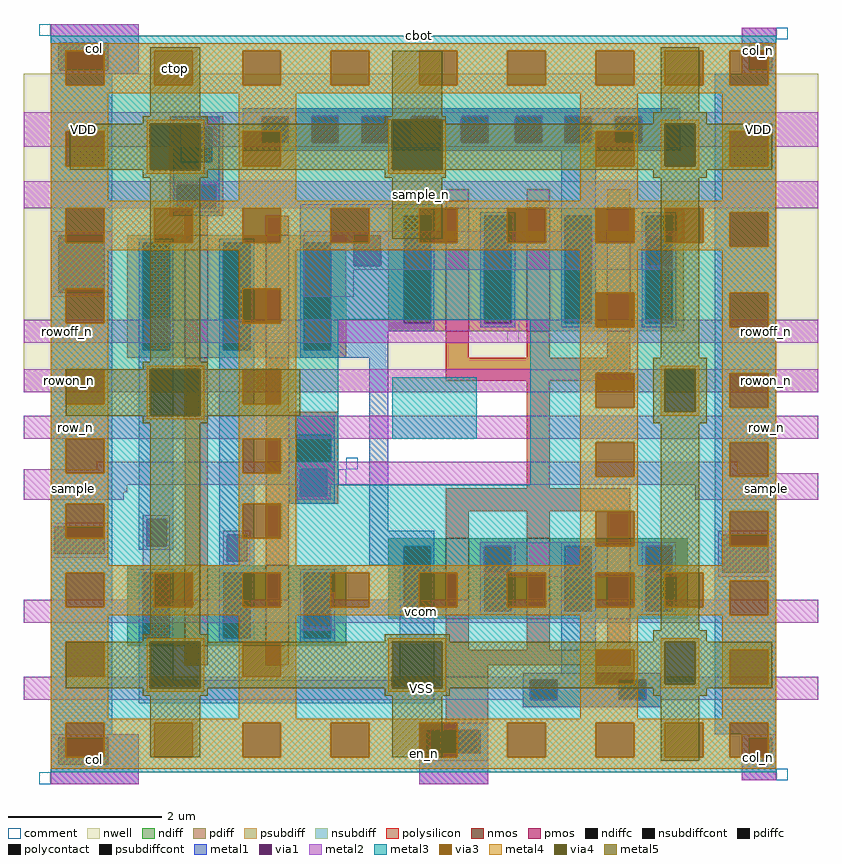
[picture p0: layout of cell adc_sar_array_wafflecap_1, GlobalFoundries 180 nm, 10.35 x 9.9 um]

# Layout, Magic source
magic
tech gf180mcuD
magscale 1 5
<< nwell >>
rect 1250 510 2285 925
<< nmos >>
rect 1460 180 1490 285
rect 1565 180 1595 285
rect 1800 215 1830 320
rect 1905 215 1935 320
rect 2010 215 2040 320
<< pmos >>
rect 1460 555 1490 715
rect 1565 555 1595 715
rect 1800 590 1830 750
rect 1905 590 1935 750
rect 2010 590 2040 750
<< ndiff >>
rect 1725 310 1800 320
rect 1385 275 1460 285
rect 1385 190 1405 275
rect 1440 190 1460 275
rect 1385 180 1460 190
rect 1490 275 1565 285
rect 1490 190 1510 275
rect 1545 190 1565 275
rect 1490 180 1565 190
rect 1595 275 1670 285
rect 1595 190 1615 275
rect 1650 190 1670 275
rect 1725 225 1745 310
rect 1780 225 1800 310
rect 1725 215 1800 225
rect 1830 310 1905 320
rect 1830 225 1850 310
rect 1885 225 1905 310
rect 1830 215 1905 225
rect 1935 310 2010 320
rect 1935 225 1955 310
rect 1990 225 2010 310
rect 1935 215 2010 225
rect 2040 310 2115 320
rect 2040 225 2060 310
rect 2095 225 2115 310
rect 2040 215 2115 225
rect 1595 180 1670 190
<< pdiff >>
rect 1725 740 1800 750
rect 1385 705 1460 715
rect 1385 565 1405 705
rect 1440 565 1460 705
rect 1385 555 1460 565
rect 1490 705 1565 715
rect 1490 565 1510 705
rect 1545 565 1565 705
rect 1490 555 1565 565
rect 1595 705 1670 715
rect 1595 565 1615 705
rect 1650 565 1670 705
rect 1725 600 1745 740
rect 1780 600 1800 740
rect 1725 590 1800 600
rect 1830 740 1905 750
rect 1830 600 1850 740
rect 1885 600 1905 740
rect 1830 590 1905 600
rect 1935 740 2010 750
rect 1935 600 1955 740
rect 1990 600 2010 740
rect 1935 590 2010 600
rect 2040 740 2110 750
rect 2040 600 2060 740
rect 2095 600 2110 740
rect 2040 590 2110 600
rect 1595 555 1670 565
<< ndiffc >>
rect 1405 190 1440 275
rect 1510 190 1545 275
rect 1615 190 1650 275
rect 1745 225 1780 310
rect 1850 225 1885 310
rect 1955 225 1990 310
rect 2060 225 2095 310
<< pdiffc >>
rect 1405 565 1440 705
rect 1510 565 1545 705
rect 1615 565 1650 705
rect 1745 600 1780 740
rect 1850 600 1885 740
rect 1955 600 1990 740
rect 2060 600 2095 740
<< psubdiff >>
rect 1900 135 2080 145
rect 1900 110 1910 135
rect 1945 110 2025 135
rect 2060 110 2080 135
rect 1900 100 2080 110
<< nsubdiff >>
rect 1535 870 2105 880
rect 1535 835 1560 870
rect 1595 835 1625 870
rect 1660 835 1690 870
rect 1725 835 1755 870
rect 1790 835 1820 870
rect 1855 835 1890 870
rect 1925 835 1955 870
rect 1990 835 2020 870
rect 2055 835 2105 870
rect 1535 825 2105 835
<< psubdiffcont >>
rect 1910 110 1945 135
rect 2025 110 2060 135
<< nsubdiffcont >>
rect 1560 835 1595 870
rect 1625 835 1660 870
rect 1690 835 1725 870
rect 1755 835 1790 870
rect 1820 835 1855 870
rect 1890 835 1925 870
rect 1955 835 1990 870
rect 2020 835 2055 870
<< polysilicon >>
rect 1440 855 1510 870
rect 1440 810 1455 855
rect 1495 810 1510 855
rect 1440 740 1510 810
rect 1800 750 1830 775
rect 1905 750 1935 775
rect 2010 750 2040 775
rect 1460 715 1490 740
rect 1565 715 1595 740
rect 1800 555 1830 590
rect 1905 555 1935 590
rect 2010 555 2040 590
rect 1460 285 1490 555
rect 1565 485 1595 555
rect 1800 525 2040 555
rect 1565 455 1660 485
rect 1565 420 1605 455
rect 1650 420 1660 455
rect 1565 365 1660 420
rect 1905 385 1935 525
rect 1565 285 1595 365
rect 1800 355 2040 385
rect 1800 320 1830 355
rect 1905 320 1935 355
rect 2010 320 2040 355
rect 1460 155 1490 180
rect 1565 155 1595 180
rect 1800 175 1830 215
rect 1905 175 1935 215
rect 2010 175 2040 215
rect 1800 155 2040 175
rect 1800 80 1855 155
rect 1765 70 1855 80
rect 1765 40 1775 70
rect 1845 40 1855 70
rect 1765 30 1855 40
<< polycontact >>
rect 1455 810 1495 855
rect 1605 420 1650 455
rect 1775 40 1845 70
<< metal1 >>
rect 1285 965 1400 990
rect 1285 930 1295 965
rect 1360 930 1400 965
rect 1285 925 1400 930
rect 2185 965 2230 985
rect 2185 930 2195 965
rect 2225 930 2230 965
rect 2185 925 2230 930
rect 1285 715 1365 925
rect 1535 870 2105 880
rect 1445 855 1505 870
rect 1445 810 1455 855
rect 1495 810 1505 855
rect 1535 835 1560 870
rect 1595 835 1625 870
rect 1660 835 1690 870
rect 1725 835 1755 870
rect 1790 835 1820 870
rect 1855 835 1890 870
rect 1925 835 1955 870
rect 1990 835 2020 870
rect 2055 835 2105 870
rect 1535 825 2105 835
rect 1445 780 1505 810
rect 1445 750 1450 780
rect 1500 750 1505 780
rect 1445 740 1505 750
rect 1610 740 1785 755
rect 1285 640 1295 715
rect 1355 640 1365 715
rect 1610 715 1745 740
rect 1285 335 1365 640
rect 1285 300 1290 335
rect 1355 300 1365 335
rect 1400 705 1445 710
rect 1400 565 1405 705
rect 1440 565 1445 705
rect 1400 345 1445 565
rect 1400 310 1410 345
rect 1436 310 1445 345
rect 1400 305 1445 310
rect 1505 705 1550 710
rect 1505 565 1510 705
rect 1545 565 1550 705
rect 1505 325 1550 565
rect 1610 705 1680 715
rect 1610 565 1615 705
rect 1650 675 1680 705
rect 1715 675 1745 715
rect 1650 600 1745 675
rect 1780 600 1785 740
rect 1650 590 1785 600
rect 1845 740 1890 745
rect 1845 600 1850 740
rect 1885 600 1890 740
rect 1845 595 1890 600
rect 1950 740 1995 825
rect 1950 600 1955 740
rect 1990 600 1995 740
rect 1950 595 1995 600
rect 2055 740 2100 745
rect 2055 600 2060 740
rect 2095 600 2100 740
rect 2055 595 2100 600
rect 1650 565 1725 590
rect 1610 555 1725 565
rect 1595 455 1655 480
rect 1595 420 1605 455
rect 1650 420 1655 455
rect 1595 410 1655 420
rect 1595 375 1610 410
rect 1645 375 1655 410
rect 1595 365 1655 375
rect 1285 65 1365 300
rect 1505 290 1515 325
rect 1541 290 1550 325
rect 1400 275 1445 280
rect 1400 190 1405 275
rect 1440 190 1445 275
rect 1400 135 1445 190
rect 1505 275 1550 290
rect 1700 330 1725 555
rect 1700 310 1785 330
rect 2150 325 2230 925
rect 1700 285 1745 310
rect 1505 190 1510 275
rect 1545 190 1550 275
rect 1505 185 1550 190
rect 1610 275 1655 280
rect 1610 190 1615 275
rect 1650 190 1655 275
rect 1610 185 1655 190
rect 1740 225 1745 285
rect 1780 225 1785 310
rect 1740 135 1785 225
rect 1845 310 1890 315
rect 1845 225 1850 310
rect 1885 225 1890 310
rect 1845 220 1890 225
rect 1950 310 1995 315
rect 1950 225 1955 310
rect 1990 225 1995 310
rect 1950 145 1995 225
rect 2055 310 2100 315
rect 2055 225 2060 310
rect 2095 225 2100 310
rect 2055 220 2100 225
rect 2150 275 2160 325
rect 2220 275 2230 325
rect 1400 105 1785 135
rect 1900 136 2080 145
rect 1900 110 1910 136
rect 1945 110 2025 136
rect 2060 110 2080 136
rect 1900 100 2080 110
rect 1765 70 1855 80
rect 1285 60 1400 65
rect 1285 25 1295 60
rect 1360 25 1400 60
rect 1285 0 1400 25
rect 1765 40 1775 70
rect 1845 40 1855 70
rect 2150 65 2230 275
rect 1765 0 1855 40
rect 2185 60 2230 65
rect 2185 30 2195 60
rect 2225 30 2230 60
rect 2185 5 2230 30
<< via1 >>
rect 1295 930 1360 965
rect 2195 930 2225 965
rect 1560 835 1595 870
rect 1625 835 1660 870
rect 1690 835 1725 870
rect 1755 835 1790 870
rect 1820 835 1855 870
rect 1890 835 1925 870
rect 1955 835 1990 870
rect 2020 835 2055 870
rect 1450 750 1500 780
rect 1295 640 1355 715
rect 1290 300 1355 335
rect 1410 310 1436 345
rect 1680 675 1715 715
rect 2060 675 2095 715
rect 1610 375 1645 410
rect 1515 290 1541 325
rect 1615 205 1650 245
rect 1850 275 1885 310
rect 2060 275 2095 310
rect 2160 275 2220 325
rect 1910 135 1945 136
rect 1910 110 1945 135
rect 2025 135 2060 136
rect 2025 110 2060 135
rect 1295 25 1360 60
rect 1780 40 1840 70
rect 2195 30 2225 60
<< metal2 >>
rect 1285 965 1400 990
rect 1285 930 1295 965
rect 1360 930 1400 965
rect 1285 925 1400 930
rect 2185 965 2230 985
rect 2185 930 2195 965
rect 2225 930 2230 965
rect 2185 925 2230 930
rect 1250 870 2285 875
rect 1250 835 1560 870
rect 1595 835 1625 870
rect 1660 835 1690 870
rect 1725 835 1755 870
rect 1790 835 1820 870
rect 1855 835 1890 870
rect 1925 835 1955 870
rect 1990 835 2020 870
rect 2055 835 2285 870
rect 1250 830 2285 835
rect 1250 780 2285 785
rect 1250 750 1450 780
rect 1500 750 2285 780
rect 1445 745 1505 750
rect 1285 715 1365 720
rect 1285 640 1295 715
rect 1355 640 1365 715
rect 1285 635 1365 640
rect 1615 715 2100 720
rect 1615 675 1680 715
rect 1715 675 2060 715
rect 2095 675 2100 715
rect 1615 670 2100 675
rect 1615 635 1680 670
rect 1250 575 2285 605
rect 1250 510 2285 540
rect 1250 450 2285 480
rect 1365 410 2150 420
rect 1365 400 1610 410
rect 1250 390 1610 400
rect 1250 370 1380 390
rect 1605 375 1610 390
rect 1645 400 2150 410
rect 1645 390 2285 400
rect 1645 375 1650 390
rect 1605 370 1650 375
rect 2125 370 2285 390
rect 1405 345 1440 350
rect 1285 335 1360 340
rect 1285 300 1290 335
rect 1355 300 1360 335
rect 1285 295 1360 300
rect 1405 310 1410 345
rect 1436 310 1440 345
rect 1405 240 1440 310
rect 1510 325 1545 330
rect 1510 290 1515 325
rect 1541 290 1545 325
rect 2155 325 2225 330
rect 1510 285 1545 290
rect 1845 310 2100 315
rect 1845 275 1850 310
rect 1885 275 2060 310
rect 2095 275 2100 310
rect 1845 270 2100 275
rect 2155 275 2160 325
rect 2220 275 2225 325
rect 2155 270 2225 275
rect 1610 245 1655 250
rect 1610 240 1615 245
rect 1250 210 1615 240
rect 1610 205 1615 210
rect 1650 240 1655 245
rect 1650 210 2285 240
rect 1650 205 1655 210
rect 1610 200 1655 205
rect 1900 140 2080 145
rect 1250 136 2285 140
rect 1250 110 1910 136
rect 1945 110 2025 136
rect 2060 110 2285 136
rect 1900 100 2080 110
rect 1765 70 1855 80
rect 1285 60 1400 65
rect 1285 25 1295 60
rect 1360 25 1400 60
rect 1285 0 1400 25
rect 1765 40 1780 70
rect 1840 40 1855 70
rect 1765 0 1855 40
rect 2185 60 2230 65
rect 2185 30 2195 60
rect 2225 30 2230 60
rect 2185 5 2230 30
<< metal3 >>
rect 1285 955 2230 975
rect 1285 910 1305 955
rect 1355 910 1420 955
rect 1470 910 1535 955
rect 1585 910 1650 955
rect 1700 910 1765 955
rect 1815 910 1880 955
rect 1930 910 1995 955
rect 2045 910 2085 955
rect 2135 910 2170 955
rect 2220 910 2230 955
rect 1285 850 2230 910
rect 1285 805 1305 850
rect 1355 805 1535 850
rect 1585 805 1995 850
rect 2045 805 2170 850
rect 2220 805 2230 850
rect 1285 750 2230 805
rect 1285 705 1305 750
rect 1355 705 1420 750
rect 1470 705 1535 750
rect 1585 705 1650 750
rect 1700 705 1765 750
rect 1815 705 1880 750
rect 1930 705 1995 750
rect 2045 705 2085 750
rect 2135 745 2230 750
rect 2135 705 2170 745
rect 1285 700 2170 705
rect 2220 700 2230 745
rect 1285 645 2230 700
rect 1285 600 1305 645
rect 1355 600 1535 645
rect 1585 640 2230 645
rect 1585 605 1995 640
rect 1585 600 1660 605
rect 1285 540 1660 600
rect 1285 495 1305 540
rect 1355 495 1535 540
rect 1585 495 1660 540
rect 1910 595 1995 605
rect 2045 595 2170 640
rect 2220 595 2230 640
rect 1910 535 2230 595
rect 1285 450 1660 495
rect 1730 450 1840 530
rect 1910 490 1995 535
rect 2045 490 2170 535
rect 2220 490 2230 535
rect 1285 405 1305 450
rect 1355 405 1535 450
rect 1585 405 1660 450
rect 1285 390 1660 405
rect 1910 445 2230 490
rect 1910 400 1995 445
rect 2045 400 2170 445
rect 2220 400 2230 445
rect 1910 390 2230 400
rect 1285 365 2230 390
rect 1285 320 1305 365
rect 1355 320 1535 365
rect 1585 355 2230 365
rect 1585 320 1995 355
rect 1285 310 1995 320
rect 2045 310 2170 355
rect 2220 310 2230 355
rect 1285 275 2230 310
rect 1285 230 1305 275
rect 1355 230 1420 275
rect 1470 230 1535 275
rect 1585 230 1650 275
rect 1700 230 1765 275
rect 1815 230 1880 275
rect 1930 230 1995 275
rect 2045 230 2085 275
rect 2135 265 2230 275
rect 2135 230 2170 265
rect 1285 220 2170 230
rect 2220 220 2230 265
rect 1285 185 2230 220
rect 1285 140 1305 185
rect 1355 140 1535 185
rect 1585 175 2230 185
rect 1585 140 1995 175
rect 1285 130 1995 140
rect 2045 130 2170 175
rect 2220 130 2230 175
rect 1285 80 2230 130
rect 1285 35 1305 80
rect 1355 35 1420 80
rect 1470 35 1535 80
rect 1585 35 1650 80
rect 1700 35 1765 80
rect 1815 35 1880 80
rect 1930 35 1995 80
rect 2045 35 2085 80
rect 2135 35 2170 80
rect 2220 35 2230 80
rect 1285 15 2230 35
<< via3 >>
rect 1305 910 1355 955
rect 1420 910 1470 955
rect 1535 910 1585 955
rect 1650 910 1700 955
rect 1765 910 1815 955
rect 1880 910 1930 955
rect 1995 910 2045 955
rect 2085 910 2135 955
rect 2170 910 2220 955
rect 1305 805 1355 850
rect 1535 805 1585 850
rect 1995 805 2045 850
rect 2170 805 2220 850
rect 1305 705 1355 750
rect 1420 705 1470 750
rect 1535 705 1585 750
rect 1650 705 1700 750
rect 1765 705 1815 750
rect 1880 705 1930 750
rect 1995 705 2045 750
rect 2085 705 2135 750
rect 2170 700 2220 745
rect 1305 600 1355 645
rect 1535 600 1585 645
rect 1305 495 1355 540
rect 1535 495 1585 540
rect 1995 595 2045 640
rect 2170 595 2220 640
rect 1995 490 2045 535
rect 2170 490 2220 535
rect 1305 405 1355 450
rect 1535 405 1585 450
rect 1995 400 2045 445
rect 2170 400 2220 445
rect 1305 320 1355 365
rect 1535 320 1585 365
rect 1995 310 2045 355
rect 2170 310 2220 355
rect 1305 230 1355 275
rect 1420 230 1470 275
rect 1535 230 1585 275
rect 1650 230 1700 275
rect 1765 230 1815 275
rect 1880 230 1930 275
rect 1995 230 2045 275
rect 2085 230 2135 275
rect 2170 220 2220 265
rect 1305 140 1355 185
rect 1535 140 1585 185
rect 1995 130 2045 175
rect 2170 130 2220 175
rect 1305 35 1355 80
rect 1420 35 1470 80
rect 1535 35 1585 80
rect 1650 35 1700 80
rect 1765 35 1815 80
rect 1880 35 1930 80
rect 1995 35 2045 80
rect 2085 35 2135 80
rect 2170 35 2220 80
<< metal4 >>
rect 1285 955 2230 965
rect 1285 910 1305 955
rect 1355 910 1420 955
rect 1470 910 1535 955
rect 1585 910 1650 955
rect 1700 910 1765 955
rect 1815 910 1880 955
rect 1930 910 1995 955
rect 2045 910 2085 955
rect 2135 910 2170 955
rect 2220 910 2230 955
rect 1285 900 2230 910
rect 1285 850 1360 900
rect 1285 805 1305 850
rect 1355 805 1360 850
rect 1285 760 1360 805
rect 1410 860 1485 865
rect 1410 800 1415 860
rect 1480 800 1485 860
rect 1410 795 1485 800
rect 1530 850 1605 900
rect 1530 805 1535 850
rect 1585 805 1605 850
rect 1530 760 1605 805
rect 1725 800 1730 865
rect 1795 800 1800 865
rect 1725 795 1800 800
rect 1975 850 2050 900
rect 1975 805 1995 850
rect 2045 805 2050 850
rect 1975 760 2050 805
rect 2080 860 2130 865
rect 2080 805 2085 860
rect 2125 805 2130 860
rect 2080 800 2130 805
rect 2160 850 2230 900
rect 2160 805 2170 850
rect 2220 805 2230 850
rect 2160 760 2230 805
rect 1285 750 2230 760
rect 1285 705 1305 750
rect 1355 705 1420 750
rect 1470 705 1535 750
rect 1585 705 1650 750
rect 1700 705 1765 750
rect 1815 705 1880 750
rect 1930 705 1995 750
rect 2045 705 2085 750
rect 2135 745 2230 750
rect 2135 705 2170 745
rect 1285 700 2170 705
rect 2220 700 2230 745
rect 1285 695 2230 700
rect 1285 645 1360 695
rect 1285 600 1305 645
rect 1355 600 1360 645
rect 1285 540 1360 600
rect 1530 645 1605 695
rect 1530 600 1535 645
rect 1585 600 1605 645
rect 1285 495 1305 540
rect 1355 495 1360 540
rect 1285 450 1360 495
rect 1410 540 1485 545
rect 1410 480 1415 540
rect 1480 480 1485 540
rect 1410 475 1485 480
rect 1530 540 1605 600
rect 1530 495 1535 540
rect 1585 495 1605 540
rect 1285 405 1305 450
rect 1355 405 1360 450
rect 1285 365 1360 405
rect 1285 320 1305 365
rect 1355 320 1360 365
rect 1285 285 1360 320
rect 1530 450 1605 495
rect 1530 405 1535 450
rect 1585 405 1605 450
rect 1530 365 1605 405
rect 1530 320 1535 365
rect 1585 320 1605 365
rect 1530 285 1605 320
rect 1975 640 2050 695
rect 1975 595 1995 640
rect 2045 595 2050 640
rect 1975 535 2050 595
rect 2160 640 2230 695
rect 2160 595 2170 640
rect 2220 595 2230 640
rect 1975 490 1995 535
rect 2045 490 2050 535
rect 1975 445 2050 490
rect 2080 540 2130 545
rect 2080 485 2085 540
rect 2125 485 2130 540
rect 2080 480 2130 485
rect 2160 535 2230 595
rect 2160 490 2170 535
rect 2220 490 2230 535
rect 1975 400 1995 445
rect 2045 400 2050 445
rect 1975 355 2050 400
rect 1975 310 1995 355
rect 2045 310 2050 355
rect 1975 285 2050 310
rect 2160 445 2230 490
rect 2160 400 2170 445
rect 2220 400 2230 445
rect 2160 355 2230 400
rect 2160 310 2170 355
rect 2220 310 2230 355
rect 2160 285 2230 310
rect 1285 275 2230 285
rect 1285 230 1305 275
rect 1355 230 1420 275
rect 1470 230 1535 275
rect 1585 230 1650 275
rect 1700 230 1765 275
rect 1815 230 1880 275
rect 1930 230 1995 275
rect 2045 230 2085 275
rect 2135 265 2230 275
rect 2135 230 2170 265
rect 1285 220 2170 230
rect 2220 220 2230 265
rect 1285 185 1360 220
rect 1285 140 1305 185
rect 1355 140 1360 185
rect 1285 85 1360 140
rect 1410 185 1485 190
rect 1410 125 1415 185
rect 1480 125 1485 185
rect 1410 120 1485 125
rect 1530 185 1605 220
rect 1530 140 1535 185
rect 1585 140 1605 185
rect 1530 85 1605 140
rect 1725 185 1800 190
rect 1725 125 1730 185
rect 1795 125 1800 185
rect 1725 120 1800 125
rect 1975 175 2050 220
rect 1975 130 1995 175
rect 2045 130 2050 175
rect 1975 85 2050 130
rect 2080 185 2130 190
rect 2080 130 2085 185
rect 2125 130 2130 185
rect 2080 125 2130 130
rect 2160 175 2230 220
rect 2160 130 2170 175
rect 2220 130 2230 175
rect 2160 85 2230 130
rect 1285 80 2230 85
rect 1285 35 1305 80
rect 1355 35 1420 80
rect 1470 35 1535 80
rect 1585 35 1650 80
rect 1700 35 1765 80
rect 1815 35 1880 80
rect 1930 35 1995 80
rect 2045 35 2085 80
rect 2135 35 2170 80
rect 2220 35 2230 80
rect 1285 20 2230 35
<< via4 >>
rect 1415 800 1480 860
rect 1730 800 1795 865
rect 2085 805 2125 860
rect 1415 480 1480 540
rect 2085 485 2125 540
rect 1415 125 1480 185
rect 1730 125 1795 185
rect 2085 130 2125 185
<< metal5 >>
rect 1415 870 1480 960
rect 1730 870 1795 955
rect 2080 875 2130 960
rect 1405 860 1490 870
rect 1720 865 1800 870
rect 1720 860 1730 865
rect 1310 800 1415 860
rect 1480 800 1610 860
rect 1705 800 1730 860
rect 1795 860 1800 865
rect 2070 860 2140 875
rect 1795 805 2085 860
rect 2125 805 2225 860
rect 1795 800 2225 805
rect 1405 790 1490 800
rect 1720 790 1800 800
rect 2070 790 2140 800
rect 1415 680 1480 790
rect 1730 710 1795 790
rect 1415 550 1480 570
rect 2080 555 2130 790
rect 1405 540 1490 550
rect 2070 540 2140 555
rect 1305 480 1415 540
rect 1480 480 1610 540
rect 2070 485 2085 540
rect 2125 485 2140 540
rect 1405 470 1490 480
rect 2070 470 2140 485
rect 1415 195 1480 470
rect 2080 200 2130 470
rect 1405 185 1490 195
rect 1720 185 1805 195
rect 2070 185 2140 200
rect 1305 125 1415 185
rect 1480 125 1730 185
rect 1795 130 2085 185
rect 2125 130 2225 185
rect 1795 125 2225 130
rect 1405 115 1490 125
rect 1720 115 1805 125
rect 2070 115 2140 125
rect 1415 35 1480 115
rect 1730 35 1795 115
rect 2080 30 2130 115
<< comment >>
rect 1270 975 1285 990
rect 2230 970 2245 985
rect 1895 590 1910 605
rect 1880 575 1895 590
rect 1670 410 1685 425
rect 1660 390 1670 410
rect 1270 0 1285 15
rect 2230 5 2245 20
use adc_sar_array_wafflecap_4  adc_sar_array_wafflecap_4_1
transform 1 0 2435 0 1 80
box -1185 -80 -150 910
<< labels >>
flabel metal2 1250 830 1405 875 0 FreeSans 160 0 0 0 VDD
port 1 nsew
flabel metal2 2130 830 2285 875 0 FreeSans 160 0 0 0 VDD
port 2 nsew
flabel metal2 1250 110 2285 140 0 FreeSans 160 0 0 0 VSS
port 3 nsew
flabel metal2 1250 750 2285 785 0 FreeSans 160 0 0 0 sample_n
port 4 nsew
flabel metal2 1250 575 1365 605 0 FreeSans 160 0 0 0 rowoff_n
port 5 nsew
flabel metal2 1250 510 1370 540 0 FreeSans 160 0 0 0 rowon_n
port 7 nsew
flabel metal2 1250 450 1385 480 0 FreeSans 160 0 0 0 row_n
port 9 nsew
flabel metal2 1250 210 2285 240 0 FreeSans 160 0 0 0 vcom
port 13 nsew
flabel metal1 1765 0 1780 80 0 FreeSans 160 0 0 0 en_n
port 14 nsew
flabel metal1 2185 5 2230 65 0 FreeSans 160 0 0 0 col_n
port 15 nsew
flabel metal1 2185 925 2230 985 0 FreeSans 160 0 0 0 col_n
port 16 nsew
flabel metal2 1285 925 1400 990 0 FreeSans 160 0 0 0 col
port 17 nsew
flabel metal2 1285 0 1400 65 0 FreeSans 160 0 0 0 col
port 18 nsew
flabel metal2 2150 450 2285 480 0 FreeSans 160 0 0 0 row_n
port 10 nsew
flabel metal2 2150 510 2285 540 0 FreeSans 160 0 0 0 rowon_n
port 8 nsew
flabel metal2 2150 575 2285 605 0 FreeSans 160 0 0 0 rowoff_n
port 6 nsew
flabel metal2 1250 370 1380 400 0 FreeSans 160 0 0 0 sample
port 20 nsew
flabel metal2 2150 370 2285 400 0 FreeSans 160 0 0 0 sample
port 19 nsew
flabel metal5 1415 905 1480 960 0 FreeSans 160 0 0 0 ctop
port 21 nsew
flabel metal3 1765 975 1765 975 0 FreeSans 80 0 0 0 cbot
port 22 nsew
<< end >>

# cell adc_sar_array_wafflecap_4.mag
magic
tech gf180mcuD
magscale 1 5
<< nwell >>
rect -1185 430 -150 845
<< nmos >>
rect -975 100 -945 205
rect -870 100 -840 205
rect -635 135 -605 240
rect -530 135 -500 240
rect -425 135 -395 240
<< pmos >>
rect -975 475 -945 635
rect -870 475 -840 635
rect -635 510 -605 670
rect -530 510 -500 670
rect -425 510 -395 670
<< ndiff >>
rect -710 230 -635 240
rect -1050 195 -975 205
rect -1050 110 -1030 195
rect -995 110 -975 195
rect -1050 100 -975 110
rect -945 195 -870 205
rect -945 110 -925 195
rect -890 110 -870 195
rect -945 100 -870 110
rect -840 195 -765 205
rect -840 110 -820 195
rect -785 110 -765 195
rect -710 145 -690 230
rect -655 145 -635 230
rect -710 135 -635 145
rect -605 230 -530 240
rect -605 145 -585 230
rect -550 145 -530 230
rect -605 135 -530 145
rect -500 230 -425 240
rect -500 145 -480 230
rect -445 145 -425 230
rect -500 135 -425 145
rect -395 230 -320 240
rect -395 145 -375 230
rect -340 145 -320 230
rect -395 135 -320 145
rect -840 100 -765 110
<< pdiff >>
rect -710 660 -635 670
rect -1050 625 -975 635
rect -1050 485 -1030 625
rect -995 485 -975 625
rect -1050 475 -975 485
rect -945 625 -870 635
rect -945 485 -925 625
rect -890 485 -870 625
rect -945 475 -870 485
rect -840 625 -765 635
rect -840 485 -820 625
rect -785 485 -765 625
rect -710 520 -690 660
rect -655 520 -635 660
rect -710 510 -635 520
rect -605 660 -530 670
rect -605 520 -585 660
rect -550 520 -530 660
rect -605 510 -530 520
rect -500 660 -425 670
rect -500 520 -480 660
rect -445 520 -425 660
rect -500 510 -425 520
rect -395 660 -325 670
rect -395 520 -375 660
rect -340 520 -325 660
rect -395 510 -325 520
rect -840 475 -765 485
<< ndiffc >>
rect -1030 110 -995 195
rect -925 110 -890 195
rect -820 110 -785 195
rect -690 145 -655 230
rect -585 145 -550 230
rect -480 145 -445 230
rect -375 145 -340 230
<< pdiffc >>
rect -1030 485 -995 625
rect -925 485 -890 625
rect -820 485 -785 625
rect -690 520 -655 660
rect -585 520 -550 660
rect -480 520 -445 660
rect -375 520 -340 660
<< psubdiff >>
rect -535 55 -355 65
rect -535 30 -525 55
rect -490 30 -410 55
rect -375 30 -355 55
rect -535 20 -355 30
<< nsubdiff >>
rect -900 790 -330 800
rect -900 755 -875 790
rect -840 755 -810 790
rect -775 755 -745 790
rect -710 755 -680 790
rect -645 755 -615 790
rect -580 755 -545 790
rect -510 755 -480 790
rect -445 755 -415 790
rect -380 755 -330 790
rect -900 745 -330 755
<< psubdiffcont >>
rect -525 30 -490 55
rect -410 30 -375 55
<< nsubdiffcont >>
rect -875 755 -840 790
rect -810 755 -775 790
rect -745 755 -710 790
rect -680 755 -645 790
rect -615 755 -580 790
rect -545 755 -510 790
rect -480 755 -445 790
rect -415 755 -380 790
<< polysilicon >>
rect -995 775 -925 790
rect -995 730 -980 775
rect -940 730 -925 775
rect -995 660 -925 730
rect -635 670 -605 695
rect -530 670 -500 695
rect -425 670 -395 695
rect -975 635 -945 660
rect -870 635 -840 660
rect -635 475 -605 510
rect -530 475 -500 510
rect -425 475 -395 510
rect -975 205 -945 475
rect -870 405 -840 475
rect -635 445 -395 475
rect -870 375 -775 405
rect -870 340 -830 375
rect -785 340 -775 375
rect -870 285 -775 340
rect -530 305 -500 445
rect -870 205 -840 285
rect -635 275 -395 305
rect -635 240 -605 275
rect -530 240 -500 275
rect -425 240 -395 275
rect -975 75 -945 100
rect -870 75 -840 100
rect -635 95 -605 135
rect -530 95 -500 135
rect -425 95 -395 135
rect -635 75 -395 95
rect -635 0 -580 75
rect -670 -10 -580 0
rect -670 -40 -660 -10
rect -590 -40 -580 -10
rect -670 -50 -580 -40
<< polycontact >>
rect -980 730 -940 775
rect -830 340 -785 375
rect -660 -40 -590 -10
<< metal1 >>
rect -1150 885 -1035 910
rect -1150 850 -1140 885
rect -1075 850 -1035 885
rect -1150 845 -1035 850
rect -250 885 -205 905
rect -250 850 -240 885
rect -210 850 -205 885
rect -250 845 -205 850
rect -1150 635 -1070 845
rect -900 790 -330 800
rect -990 775 -930 790
rect -990 730 -980 775
rect -940 730 -930 775
rect -900 755 -875 790
rect -840 755 -810 790
rect -775 755 -745 790
rect -710 755 -680 790
rect -645 755 -615 790
rect -580 755 -545 790
rect -510 755 -480 790
rect -445 755 -415 790
rect -380 755 -330 790
rect -900 745 -330 755
rect -990 700 -930 730
rect -990 670 -985 700
rect -935 670 -930 700
rect -990 660 -930 670
rect -825 660 -650 675
rect -1150 560 -1140 635
rect -1080 560 -1070 635
rect -825 635 -690 660
rect -1150 255 -1070 560
rect -1150 220 -1145 255
rect -1080 220 -1070 255
rect -1035 625 -990 630
rect -1035 485 -1030 625
rect -995 485 -990 625
rect -1035 265 -990 485
rect -1035 230 -1025 265
rect -999 230 -990 265
rect -1035 225 -990 230
rect -930 625 -885 630
rect -930 485 -925 625
rect -890 485 -885 625
rect -930 245 -885 485
rect -825 625 -755 635
rect -825 485 -820 625
rect -785 595 -755 625
rect -720 595 -690 635
rect -785 520 -690 595
rect -655 520 -650 660
rect -785 510 -650 520
rect -590 660 -545 665
rect -590 520 -585 660
rect -550 520 -545 660
rect -590 515 -545 520
rect -485 660 -440 745
rect -485 520 -480 660
rect -445 520 -440 660
rect -485 515 -440 520
rect -380 660 -335 665
rect -380 520 -375 660
rect -340 520 -335 660
rect -380 515 -335 520
rect -785 485 -710 510
rect -825 475 -710 485
rect -840 375 -780 400
rect -840 340 -830 375
rect -785 340 -780 375
rect -840 330 -780 340
rect -840 295 -825 330
rect -790 295 -780 330
rect -840 285 -780 295
rect -1150 -15 -1070 220
rect -930 210 -920 245
rect -894 210 -885 245
rect -1035 195 -990 200
rect -1035 110 -1030 195
rect -995 110 -990 195
rect -1035 55 -990 110
rect -930 195 -885 210
rect -735 250 -710 475
rect -735 230 -650 250
rect -285 245 -205 845
rect -735 205 -690 230
rect -930 110 -925 195
rect -890 110 -885 195
rect -930 105 -885 110
rect -825 195 -780 200
rect -825 110 -820 195
rect -785 110 -780 195
rect -825 105 -780 110
rect -695 145 -690 205
rect -655 145 -650 230
rect -695 55 -650 145
rect -590 230 -545 235
rect -590 145 -585 230
rect -550 145 -545 230
rect -590 140 -545 145
rect -485 230 -440 235
rect -485 145 -480 230
rect -445 145 -440 230
rect -485 65 -440 145
rect -380 230 -335 235
rect -380 145 -375 230
rect -340 145 -335 230
rect -380 140 -335 145
rect -285 195 -275 245
rect -215 195 -205 245
rect -1035 25 -650 55
rect -535 56 -355 65
rect -535 30 -525 56
rect -490 30 -410 56
rect -375 30 -355 56
rect -535 20 -355 30
rect -670 -10 -580 0
rect -1150 -20 -1035 -15
rect -1150 -55 -1140 -20
rect -1075 -55 -1035 -20
rect -1150 -80 -1035 -55
rect -670 -40 -660 -10
rect -590 -40 -580 -10
rect -285 -15 -205 195
rect -670 -80 -580 -40
rect -250 -20 -205 -15
rect -250 -50 -240 -20
rect -210 -50 -205 -20
rect -250 -75 -205 -50
<< via1 >>
rect -1140 850 -1075 885
rect -240 850 -210 885
rect -875 755 -840 790
rect -810 755 -775 790
rect -745 755 -710 790
rect -680 755 -645 790
rect -615 755 -580 790
rect -545 755 -510 790
rect -480 755 -445 790
rect -415 755 -380 790
rect -985 670 -935 700
rect -1140 560 -1080 635
rect -1145 220 -1080 255
rect -1025 230 -999 265
rect -755 595 -720 635
rect -375 595 -340 635
rect -825 295 -790 330
rect -920 210 -894 245
rect -820 125 -785 165
rect -585 195 -550 230
rect -375 195 -340 230
rect -275 195 -215 245
rect -525 55 -490 56
rect -525 30 -490 55
rect -410 55 -375 56
rect -410 30 -375 55
rect -1140 -55 -1075 -20
rect -655 -40 -595 -10
rect -240 -50 -210 -20
<< metal2 >>
rect -1150 885 -1035 910
rect -1150 850 -1140 885
rect -1075 850 -1035 885
rect -1150 845 -1035 850
rect -250 885 -205 905
rect -250 850 -240 885
rect -210 850 -205 885
rect -250 845 -205 850
rect -1185 790 -150 795
rect -1185 755 -875 790
rect -840 755 -810 790
rect -775 755 -745 790
rect -710 755 -680 790
rect -645 755 -615 790
rect -580 755 -545 790
rect -510 755 -480 790
rect -445 755 -415 790
rect -380 755 -150 790
rect -1185 750 -150 755
rect -1185 700 -150 705
rect -1185 670 -985 700
rect -935 670 -150 700
rect -990 665 -930 670
rect -1150 635 -1070 640
rect -1150 560 -1140 635
rect -1080 560 -1070 635
rect -1150 555 -1070 560
rect -820 635 -335 640
rect -820 595 -755 635
rect -720 595 -375 635
rect -340 595 -335 635
rect -820 590 -335 595
rect -820 555 -755 590
rect -1185 495 -150 525
rect -1185 430 -150 460
rect -1185 370 -150 400
rect -1090 330 -255 340
rect -1185 310 -825 330
rect -1185 300 -1050 310
rect -830 295 -825 310
rect -790 325 -255 330
rect -790 310 -150 325
rect -790 295 -785 310
rect -285 295 -150 310
rect -830 290 -785 295
rect -1030 265 -995 270
rect -1150 255 -1075 260
rect -1150 220 -1145 255
rect -1080 220 -1075 255
rect -1150 215 -1075 220
rect -1030 230 -1025 265
rect -999 230 -995 265
rect -1030 160 -995 230
rect -925 245 -890 250
rect -925 210 -920 245
rect -894 210 -890 245
rect -280 245 -210 250
rect -925 205 -890 210
rect -590 230 -335 235
rect -590 195 -585 230
rect -550 195 -375 230
rect -340 195 -335 230
rect -590 190 -335 195
rect -280 195 -275 245
rect -215 195 -210 245
rect -280 190 -210 195
rect -825 165 -780 170
rect -825 160 -820 165
rect -1185 130 -820 160
rect -825 125 -820 130
rect -785 160 -780 165
rect -785 130 -150 160
rect -785 125 -780 130
rect -825 120 -780 125
rect -535 60 -355 65
rect -1185 56 -150 60
rect -1185 30 -525 56
rect -490 30 -410 56
rect -375 30 -150 56
rect -535 20 -355 30
rect -670 -10 -580 0
rect -1150 -20 -1035 -15
rect -1150 -55 -1140 -20
rect -1075 -55 -1035 -20
rect -1150 -80 -1035 -55
rect -670 -40 -655 -10
rect -595 -40 -580 -10
rect -670 -80 -580 -40
rect -250 -20 -205 -15
rect -250 -50 -240 -20
rect -210 -50 -205 -20
rect -250 -75 -205 -50
<< metal3 >>
rect -1150 875 -205 895
rect -1150 830 -1130 875
rect -1080 830 -1015 875
rect -965 830 -900 875
rect -850 830 -785 875
rect -735 830 -670 875
rect -620 830 -555 875
rect -505 830 -440 875
rect -390 830 -350 875
rect -300 830 -265 875
rect -215 830 -205 875
rect -1150 770 -205 830
rect -1150 725 -1130 770
rect -1080 725 -900 770
rect -850 725 -440 770
rect -390 725 -265 770
rect -215 725 -205 770
rect -1150 670 -205 725
rect -1150 625 -1130 670
rect -1080 625 -1015 670
rect -965 625 -900 670
rect -850 625 -785 670
rect -735 625 -670 670
rect -620 625 -555 670
rect -505 625 -440 670
rect -390 625 -350 670
rect -300 665 -205 670
rect -300 625 -265 665
rect -1150 620 -265 625
rect -215 620 -205 665
rect -1150 565 -205 620
rect -1150 520 -1130 565
rect -1080 520 -900 565
rect -850 560 -205 565
rect -850 525 -440 560
rect -850 520 -775 525
rect -1150 460 -775 520
rect -1150 415 -1130 460
rect -1080 415 -900 460
rect -850 415 -775 460
rect -525 515 -440 525
rect -390 515 -265 560
rect -215 515 -205 560
rect -525 455 -205 515
rect -1150 370 -775 415
rect -705 370 -595 450
rect -525 410 -440 455
rect -390 410 -265 455
rect -215 410 -205 455
rect -1150 325 -1130 370
rect -1080 325 -900 370
rect -850 325 -775 370
rect -1150 310 -775 325
rect -525 365 -205 410
rect -525 320 -440 365
rect -390 320 -265 365
rect -215 320 -205 365
rect -525 310 -205 320
rect -1150 285 -205 310
rect -1150 240 -1130 285
rect -1080 240 -900 285
rect -850 275 -205 285
rect -850 240 -440 275
rect -1150 230 -440 240
rect -390 230 -265 275
rect -215 230 -205 275
rect -1150 195 -205 230
rect -1150 150 -1130 195
rect -1080 150 -1015 195
rect -965 150 -900 195
rect -850 150 -785 195
rect -735 150 -670 195
rect -620 150 -555 195
rect -505 150 -440 195
rect -390 150 -350 195
rect -300 185 -205 195
rect -300 150 -265 185
rect -1150 140 -265 150
rect -215 140 -205 185
rect -1150 105 -205 140
rect -1150 60 -1130 105
rect -1080 60 -900 105
rect -850 95 -205 105
rect -850 60 -440 95
rect -1150 50 -440 60
rect -390 50 -265 95
rect -215 50 -205 95
rect -1150 0 -205 50
rect -1150 -45 -1130 0
rect -1080 -45 -1015 0
rect -965 -45 -900 0
rect -850 -45 -785 0
rect -735 -45 -670 0
rect -620 -45 -555 0
rect -505 -45 -440 0
rect -390 -45 -350 0
rect -300 -45 -265 0
rect -215 -45 -205 0
rect -1150 -65 -205 -45
<< via3 >>
rect -1130 830 -1080 875
rect -1015 830 -965 875
rect -900 830 -850 875
rect -785 830 -735 875
rect -670 830 -620 875
rect -555 830 -505 875
rect -440 830 -390 875
rect -350 830 -300 875
rect -265 830 -215 875
rect -1130 725 -1080 770
rect -900 725 -850 770
rect -440 725 -390 770
rect -265 725 -215 770
rect -1130 625 -1080 670
rect -1015 625 -965 670
rect -900 625 -850 670
rect -785 625 -735 670
rect -670 625 -620 670
rect -555 625 -505 670
rect -440 625 -390 670
rect -350 625 -300 670
rect -265 620 -215 665
rect -1130 520 -1080 565
rect -900 520 -850 565
rect -1130 415 -1080 460
rect -900 415 -850 460
rect -440 515 -390 560
rect -265 515 -215 560
rect -440 410 -390 455
rect -265 410 -215 455
rect -1130 325 -1080 370
rect -900 325 -850 370
rect -440 320 -390 365
rect -265 320 -215 365
rect -1130 240 -1080 285
rect -900 240 -850 285
rect -440 230 -390 275
rect -265 230 -215 275
rect -1130 150 -1080 195
rect -1015 150 -965 195
rect -900 150 -850 195
rect -785 150 -735 195
rect -670 150 -620 195
rect -555 150 -505 195
rect -440 150 -390 195
rect -350 150 -300 195
rect -265 140 -215 185
rect -1130 60 -1080 105
rect -900 60 -850 105
rect -440 50 -390 95
rect -265 50 -215 95
rect -1130 -45 -1080 0
rect -1015 -45 -965 0
rect -900 -45 -850 0
rect -785 -45 -735 0
rect -670 -45 -620 0
rect -555 -45 -505 0
rect -440 -45 -390 0
rect -350 -45 -300 0
rect -265 -45 -215 0
<< metal4 >>
rect -1150 875 -205 885
rect -1150 830 -1130 875
rect -1080 830 -1015 875
rect -965 830 -900 875
rect -850 830 -785 875
rect -735 830 -670 875
rect -620 830 -555 875
rect -505 830 -440 875
rect -390 830 -350 875
rect -300 830 -265 875
rect -215 830 -205 875
rect -1150 820 -205 830
rect -1150 770 -1075 820
rect -1150 725 -1130 770
rect -1080 725 -1075 770
rect -1150 680 -1075 725
rect -1025 780 -950 785
rect -1025 720 -1020 780
rect -955 720 -950 780
rect -1025 715 -950 720
rect -905 770 -830 820
rect -905 725 -900 770
rect -850 725 -830 770
rect -905 680 -830 725
rect -710 720 -705 785
rect -640 720 -635 785
rect -710 715 -635 720
rect -460 770 -385 820
rect -460 725 -440 770
rect -390 725 -385 770
rect -460 680 -385 725
rect -355 780 -305 785
rect -355 725 -350 780
rect -310 725 -305 780
rect -355 720 -305 725
rect -275 770 -205 820
rect -275 725 -265 770
rect -215 725 -205 770
rect -275 680 -205 725
rect -1150 670 -205 680
rect -1150 625 -1130 670
rect -1080 625 -1015 670
rect -965 625 -900 670
rect -850 625 -785 670
rect -735 625 -670 670
rect -620 625 -555 670
rect -505 625 -440 670
rect -390 625 -350 670
rect -300 665 -205 670
rect -300 625 -265 665
rect -1150 620 -265 625
rect -215 620 -205 665
rect -1150 615 -205 620
rect -1150 565 -1075 615
rect -1150 520 -1130 565
rect -1080 520 -1075 565
rect -1150 460 -1075 520
rect -905 565 -830 615
rect -905 520 -900 565
rect -850 520 -830 565
rect -1150 415 -1130 460
rect -1080 415 -1075 460
rect -1150 370 -1075 415
rect -1025 460 -950 465
rect -1025 400 -1020 460
rect -955 400 -950 460
rect -1025 395 -950 400
rect -905 460 -830 520
rect -905 415 -900 460
rect -850 415 -830 460
rect -1150 325 -1130 370
rect -1080 325 -1075 370
rect -1150 285 -1075 325
rect -1150 240 -1130 285
rect -1080 240 -1075 285
rect -1150 205 -1075 240
rect -905 370 -830 415
rect -905 325 -900 370
rect -850 325 -830 370
rect -905 285 -830 325
rect -905 240 -900 285
rect -850 240 -830 285
rect -905 205 -830 240
rect -460 560 -385 615
rect -460 515 -440 560
rect -390 515 -385 560
rect -460 455 -385 515
rect -275 560 -205 615
rect -275 515 -265 560
rect -215 515 -205 560
rect -460 410 -440 455
rect -390 410 -385 455
rect -460 365 -385 410
rect -355 460 -305 465
rect -355 405 -350 460
rect -310 405 -305 460
rect -355 400 -305 405
rect -275 455 -205 515
rect -275 410 -265 455
rect -215 410 -205 455
rect -460 320 -440 365
rect -390 320 -385 365
rect -460 275 -385 320
rect -460 230 -440 275
rect -390 230 -385 275
rect -460 205 -385 230
rect -275 365 -205 410
rect -275 320 -265 365
rect -215 320 -205 365
rect -275 275 -205 320
rect -275 230 -265 275
rect -215 230 -205 275
rect -275 205 -205 230
rect -1150 195 -205 205
rect -1150 150 -1130 195
rect -1080 150 -1015 195
rect -965 150 -900 195
rect -850 150 -785 195
rect -735 150 -670 195
rect -620 150 -555 195
rect -505 150 -440 195
rect -390 150 -350 195
rect -300 185 -205 195
rect -300 150 -265 185
rect -1150 140 -265 150
rect -215 140 -205 185
rect -1150 105 -1075 140
rect -1150 60 -1130 105
rect -1080 60 -1075 105
rect -1150 5 -1075 60
rect -1025 105 -950 110
rect -1025 45 -1020 105
rect -955 45 -950 105
rect -1025 40 -950 45
rect -905 105 -830 140
rect -905 60 -900 105
rect -850 60 -830 105
rect -905 5 -830 60
rect -710 105 -635 110
rect -710 45 -705 105
rect -640 45 -635 105
rect -710 40 -635 45
rect -460 95 -385 140
rect -460 50 -440 95
rect -390 50 -385 95
rect -460 5 -385 50
rect -355 105 -305 110
rect -355 50 -350 105
rect -310 50 -305 105
rect -355 45 -305 50
rect -275 95 -205 140
rect -275 50 -265 95
rect -215 50 -205 95
rect -275 5 -205 50
rect -1150 0 -205 5
rect -1150 -45 -1130 0
rect -1080 -45 -1015 0
rect -965 -45 -900 0
rect -850 -45 -785 0
rect -735 -45 -670 0
rect -620 -45 -555 0
rect -505 -45 -440 0
rect -390 -45 -350 0
rect -300 -45 -265 0
rect -215 -45 -205 0
rect -1150 -60 -205 -45
<< via4 >>
rect -1020 720 -955 780
rect -705 720 -640 785
rect -350 725 -310 780
rect -1020 400 -955 460
rect -350 405 -310 460
rect -1020 45 -955 105
rect -705 45 -640 105
rect -350 50 -310 105
<< metal5 >>
rect -1020 790 -955 880
rect -705 790 -640 875
rect -355 795 -305 880
rect -1030 780 -945 790
rect -715 785 -635 790
rect -715 780 -705 785
rect -1125 720 -1020 780
rect -955 720 -705 780
rect -640 780 -635 785
rect -365 780 -295 795
rect -640 725 -350 780
rect -310 725 -210 780
rect -640 720 -210 725
rect -1030 710 -945 720
rect -715 710 -635 720
rect -365 710 -295 720
rect -1020 470 -955 710
rect -705 630 -640 710
rect -355 475 -305 710
rect -1030 460 -945 470
rect -365 460 -295 475
rect -1130 400 -1020 460
rect -955 400 -825 460
rect -365 405 -350 460
rect -310 405 -295 460
rect -1030 390 -945 400
rect -365 390 -295 405
rect -1020 115 -955 390
rect -355 120 -305 390
rect -1030 105 -945 115
rect -715 105 -630 115
rect -365 105 -295 120
rect -1130 45 -1020 105
rect -955 45 -705 105
rect -640 50 -350 105
rect -310 50 -210 105
rect -640 45 -210 50
rect -1030 35 -945 45
rect -715 35 -630 45
rect -365 35 -295 45
rect -1020 -45 -955 35
rect -705 -45 -640 35
rect -355 -50 -305 35
<< comment >>
rect -1165 895 -1150 910
rect -205 890 -190 905
rect -540 510 -525 525
rect -555 495 -540 510
rect -765 330 -750 345
rect -775 310 -765 330
rect -1165 -80 -1150 -65
rect -205 -75 -190 -60
<< labels >>
flabel metal2 -1185 750 -1030 795 0 FreeSans 160 0 0 0 VDD
port 1 nsew
flabel metal2 -305 750 -150 795 0 FreeSans 160 0 0 0 VDD
port 2 nsew
flabel metal2 -1185 30 -150 60 0 FreeSans 160 0 0 0 VSS
port 3 nsew
flabel metal2 -1185 670 -150 705 0 FreeSans 160 0 0 0 sample_n
port 4 nsew
flabel metal2 -1185 495 -1070 525 0 FreeSans 160 0 0 0 rowoff_n
port 5 nsew
flabel metal2 -1185 430 -1065 460 0 FreeSans 160 0 0 0 rowon_n
port 7 nsew
flabel metal2 -1185 370 -1050 400 0 FreeSans 160 0 0 0 row_n
port 9 nsew
flabel metal2 -1185 130 -150 160 0 FreeSans 160 0 0 0 vcom
port 13 nsew
flabel metal1 -670 -80 -655 0 0 FreeSans 160 0 0 0 en_n
port 14 nsew
flabel metal1 -250 -75 -205 -15 0 FreeSans 160 0 0 0 col_n
port 15 nsew
flabel metal1 -250 845 -205 905 0 FreeSans 160 0 0 0 col_n
port 16 nsew
flabel metal2 -1150 845 -1035 910 0 FreeSans 160 0 0 0 col
port 17 nsew
flabel metal2 -1150 -80 -1035 -15 0 FreeSans 160 0 0 0 col
port 18 nsew
flabel metal2 -285 370 -150 400 0 FreeSans 160 0 0 0 row_n
port 10 nsew
flabel metal2 -285 430 -150 460 0 FreeSans 160 0 0 0 rowon_n
port 8 nsew
flabel metal2 -285 495 -150 525 0 FreeSans 160 0 0 0 rowoff_n
port 6 nsew
flabel metal5 -705 820 -640 875 0 FreeSans 160 0 0 0 ctop
port 21 nsew
flabel metal2 -1185 300 -1050 330 0 FreeSans 160 0 0 0 sample
port 20 nsew
flabel metal2 -285 295 -150 325 0 FreeSans 160 0 0 0 sample
port 19 nsew
flabel metal3 -670 895 -670 895 0 FreeSans 80 0 0 0 cbot
port 22 nsew
<< end >>
